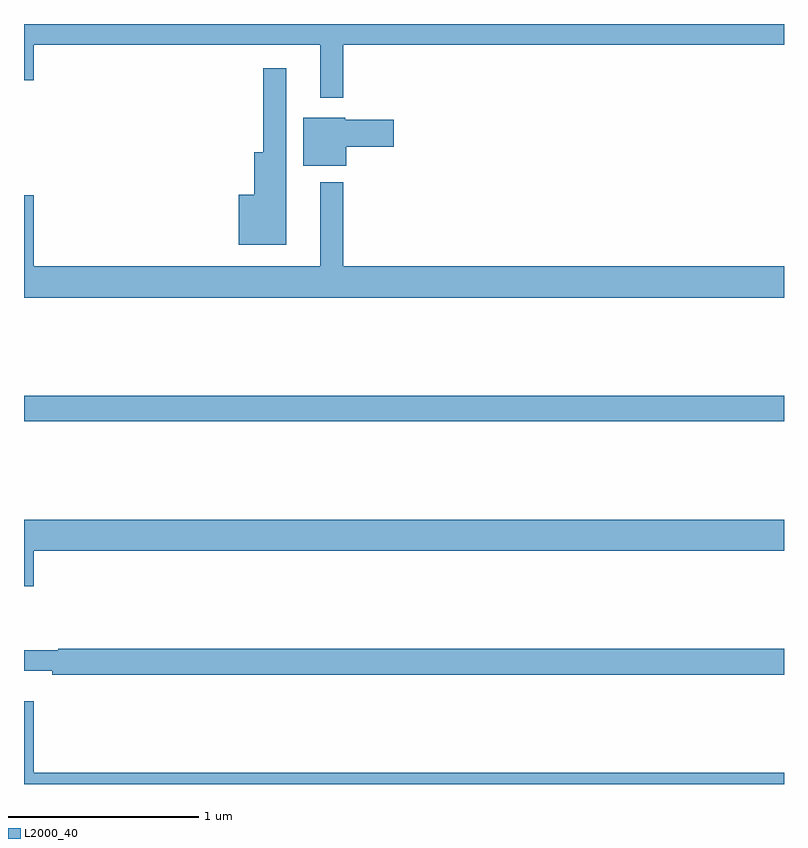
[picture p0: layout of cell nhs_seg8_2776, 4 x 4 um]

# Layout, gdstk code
import gdstk
lib = gdstk.Library(unit=1e-6, precision=1e-09)
def R(c, l, rs):  # rectangles x0, y0, x1, y1
    for r in rs: c.add(gdstk.rectangle(r[:2], r[2:], *l))
def P(c, l, *ps):  # polygons
    for p in ps: c.add(gdstk.Polygon(p, *l))
L2000_40 = (2000, 40)

nhs_seg8_2776 = lib.new_cell('nhs_seg8_2776')
R(nhs_seg8_2776, L2000_40, [(285,1155.808,289,1155.944)])
P(nhs_seg8_2776, L2000_40, [(286.681,1157.792),(289,1157.792),(289,1157.9),(285,1157.9),(285,1157.604),(285.052,1157.604),(285.052,1157.792),(286.559,1157.792),(286.559,1157.511),(286.681,1157.511)],
  [(286.381,1157.668),(286.26,1157.668),(286.26,1157.224),(286.211,1157.224),(286.211,1157.002),(286.13,1157.002),(286.13,1156.739),(286.381,1156.739)],
  [(286.696,1157.255),(286.945,1157.255),(286.945,1157.397),(286.692,1157.397),(286.692,1157.407),(286.469,1157.407),(286.469,1157.153),(286.696,1157.153)],
  [(289,1156.624),(286.681,1156.624),(286.681,1157.068),(286.559,1157.068),(286.559,1156.624),(285.052,1156.624),(285.052,1156.999),(285,1156.999),(285,1156.46),(289,1156.46)],
  [(285.052,1155.128),(289,1155.128),(289,1155.292),(285,1155.292),(285,1154.94),(285.052,1154.94)],
  [(289,1154.612),(285.179,1154.612),(285.179,1154.605),(285,1154.605),(285,1154.495),(285.148,1154.495),(285.148,1154.476),(289,1154.476)],
  [(289,1153.96),(285.052,1153.96),(285.052,1154.335),(285,1154.335),(285,1153.9),(289,1153.9)])

lib.write_gds('nhs_seg8_2776.gds')
